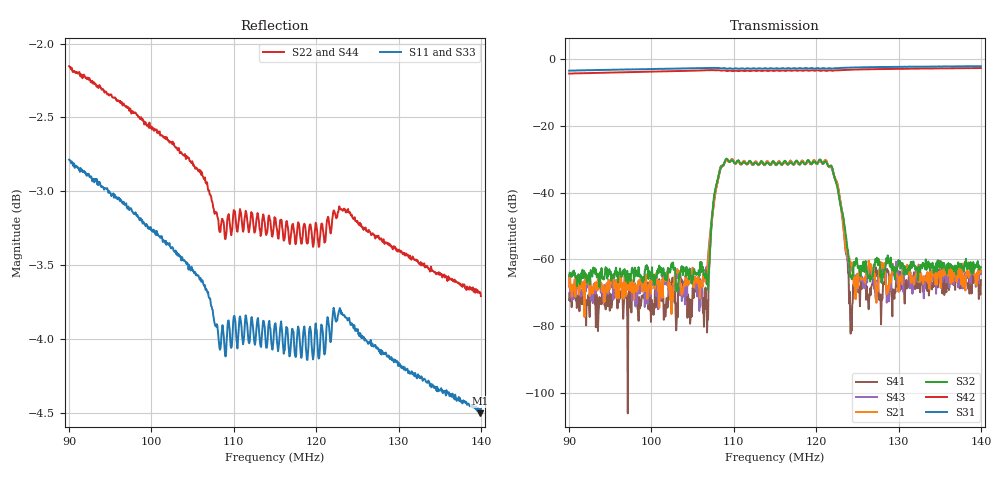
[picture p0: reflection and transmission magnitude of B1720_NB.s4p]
#  HZ  S  RI  R  50.0000
! Rohde & Schwarz ZVA/B
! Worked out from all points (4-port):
!   801 points, 90 MHz to 140 MHz, reference 50 ohm
!   strongest paths, dB at 90 MHz, 102.5 MHz, 115 MHz, 127.5 MHz, 140 MHz:
!     S31: -3.5, -2.9, -2.9, -2.4, -2.2
!     S42: -4.4, -3.7, -3.5, -3.1, -2.7
!     S32: -64.9, -61.1, -31.3, -61.7, -62.4
!     S21: -65.4, -70.1, -31.4, -69.6, -63.8
!     S43: -68.0, -73.7, -31.4, -67.1, -64.3
!     S41: -72.1, -67.5, -31.4, -64.1, -66.2
!   lowest |S11| = -4.5 dB at 139.9 MHz (marker M1), VSWR 3.94, Z = 36.7 - j62 ohm
!   |S11| at or under -10 dB: nowhere
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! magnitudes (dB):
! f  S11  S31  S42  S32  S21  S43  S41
! 90 MHz  -2.8  -3.5  -4.4  -64.9  -65.4  -68.0  -72.1
! 106.6 MHz  -3.7  -2.7  -3.4  -63.3  -66.2  -62.3  -74.9
! 109.2 MHz  -4.0  -3.0  -3.6  -29.9  -30.2  -30.1  -30.1
! 121.8 MHz  -4.0  -2.8  -3.5  -31.9  -32.3  -32.4  -32.0
! 124.2 MHz  -3.9  -2.6  -3.2  -64.8  -61.8  -62.6  -74.7
! 139.9 MHz  -4.5  -2.2  -2.7  -62.1  -62.9  -64.4  -67.7
! 140 MHz  -4.5  -2.2  -2.7  -62.4  -63.8  -64.3  -66.2
